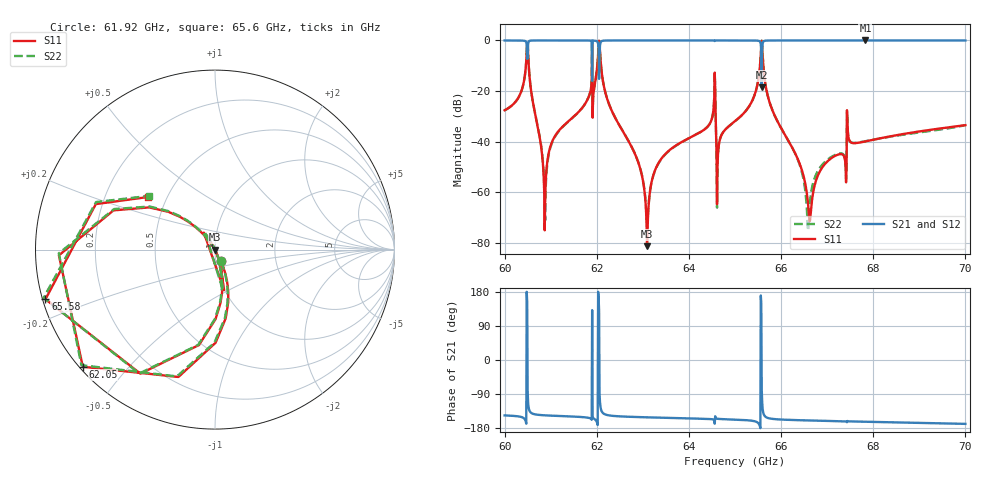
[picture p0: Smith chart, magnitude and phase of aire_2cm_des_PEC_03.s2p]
! TOUCHSTONE file generated by CST MICROWAVE STUDIO
! Date and time: Tue Feb 27 23:57:08 2024
! Project name: aire_des.cst
! Header version: 2018
! Port assignment regex: !\s*Touchstone port\s*([0-9]+)\s*=\s*(CST MWS port|CST DS port)\s*([0-9]+|Zmin|Zmax)\s*\(\"(.*)\"\)(\s*mode\s*([0-9]+))?.*
! Touchstone port assignment:
! Touchstone port 1 = CST MWS port 1 ("")
! Touchstone port 2 = CST MWS port 2 ("")
# GHz S MA R 376.7
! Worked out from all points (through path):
!   1001 points, 60 GHz to 70 GHz, reference 376.7 ohm
!   highest |S21| = 0.00 dB at 67.83 GHz (marker M1); lowest = -18.6 dB at 65.58 GHz (marker M2)
!   lowest |S11| = -81.4 dB at 63.09 GHz (marker M3), VSWR 1.00, Z = 377 + j0.0105 ohm
!   |S11| at or under -10 dB: 60.52 GHz to 61.89 GHz (1.37 GHz wide, 2.24 % of centre); 62.09 GHz to 65.54 GHz (3.45 GHz wide, 5.41 % of centre); 65.61 GHz to end of sweep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
!   |S22| runs from -75.3 to -0.1 dB; largest |S21 - S12| = 0.0075
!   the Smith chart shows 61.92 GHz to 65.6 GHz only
!   S11 on the Smith chart (normalised r, x): 61.92 GHz: 1.06, -0.14; 62.05 GHz: 0.01, -0.38; 65.58 GHz: 0.01, -0.14; 65.6 GHz: 0.39, +0.30
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60  0.0416 -56.5  0.9993 -146.2  0.9997 -146.2  0.04159 -55.8
60.5  0.8897 -172.5  0.4536 -82.2  0.4535 -82.3  0.8891 -171.6
60.88  0.0006944 -66.8  0.9997 -146.1  0.9998 -146.0  0.0002769 -67.3
61.06  0.01136 -58.2  0.9995 -147.1  0.9998 -147.1  0.01098 -57.0
61.67  0.04478 -60.5  0.9987 -150.5  0.9989 -150.5  0.04476 -60.6
61.92  0.07354 -62.8  0.997 -152.7  0.997 -152.7  0.07356 -63.2
62.05  0.9841 -138.4  0.1741 131.4  0.1741 131.4  0.9841 -139.1
62.27  0.05377 124.3  0.9989 -146.3  0.9986 -146.3  0.05403 123.1
62.92  0.003437 121.5  1 -150.7  1 -150.7  0.003483 115.0
63.09  8.55e-05 170.6  1 -151.3  1 -151.3  0.0002419 48.2
63.34  0.003766 -62.3  0.9999 -152.1  1 -152.1  0.003716 -59.3
64.53  0.04061 -66.6  0.9992 -157.1  0.999 -157.0  0.04043 -67.7
64.64  0.007251 -68.2  0.9999 -155.4  1 -155.4  0.007424 -63.0
65  0.02524 -67.2  0.9997 -157.3  0.9996 -157.3  0.02522 -67.4
65.58  0.9843 -163.7  0.1175 -78.2  0.1195 -74.8  0.9915 -164.3
65.6  0.4746 141.9  0.8756 -128.9  0.8791 -128.8  0.4754 141.0
66.57  0.0007958 91.8  0.9999 -159.5  1 -159.5  0.0003088 72.1
66.67  0.0006773 -46.5  0.9999 -159.8  1 -159.8  0.001215 -71.2
67.48  0.01063 -69.7  0.9999 -161.9  0.9999 -161.9  0.01071 -74.0
67.83  0.01008 -71.9  1 -162.9  0.9999 -163.0  0.01019 -74.0
68.34  0.01255 -73.0  0.9999 -164.3  0.9998 -164.3  0.0124 -74.6
70  0.02113 -77.6  0.9998 -168.6  0.9997 -168.5  0.0211 -79.3
